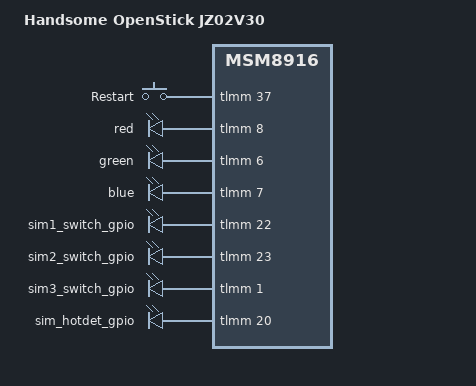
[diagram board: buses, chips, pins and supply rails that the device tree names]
// SPDX-License-Identifier: GPL-2.0-only
/*
 * Copyright (C) 2024 Vasiliy Olekhov <olekhov@gmail.com>
 *
 */

/dts-v1/;
#include "msm8916-handsome-openstick-common.dtsi"
#include "msm8916-modem-qdsp6.dtsi"

/ {
    model = "Handsome OpenStick JZ02V30";
    compatible = "handsome,openstick", "qcom,msm8916";

    gpio-keys {
        compatible = "gpio-keys";
        #address-cells = <1>;
        #size-cells = <0>;
        autorepeat;

        pinctrl-names = "default";
        pinctrl-0 = <&gpio_keys_default>;
        label = "GPIO Buttons";

        key_reset {
            label = "Restart";
            gpios = <&tlmm 37 GPIO_ACTIVE_HIGH>;
            linux,input-type = <EV_SW>;
            linux,code = <KEY_RESTART>;
            gpio-key,wakeup;
            debounce-interval = <15>;
        };
    };

    gpio-leds {
        compatible = "gpio-leds";

        pinctrl-names = "default";
        pinctrl-0 = <&msmgpio_leds>;

        red {
            label = "red";
            default-state = "off";
            gpios = <&tlmm 8 GPIO_ACTIVE_HIGH>;
            // linux,default-trigger = "heartbeat";
        };

        green {
            label = "green";
            default-state = "off";
            gpios = <&tlmm 6 GPIO_ACTIVE_HIGH>;
        };

        blue {
            label = "blue";
            gpios = <&tlmm 7 GPIO_ACTIVE_HIGH>;
            default-state = "off";
        };

        sim1_switch_gpio {
            gpios = <&tlmm 22 GPIO_ACTIVE_HIGH>;
            label = "sim1_switch_gpio";
            linux,default-trigger = "none";
            default-state = "off";
            retain-state-suspended;
        };

        sim2_switch_gpio {
            gpios = <&tlmm 23 GPIO_ACTIVE_HIGH>;
            label = "sim2_switch_gpio";
            linux,default-trigger = "none";
            default-state = "off";
            retain-state-suspended;
        };

        sim3_switch_gpio {
            gpios = <&tlmm 1 GPIO_ACTIVE_HIGH>;
            label = "sim3_switch_gpio";
            linux,default-trigger = "none";
            default-state = "on";
            retain-state-suspended;
        };

        sim_hotdet_gpio {
            gpios = <&tlmm 20 GPIO_ACTIVE_HIGH>;
            label = "sim_hotdet_gpio";
            linux,default-trigger = "none";
            default-state = "off";
            retain-state-suspended;
        };

    };
};

&tlmm {
    msmgpio_leds: msmgpio_leds {
        pins = "gpio1","gpio6","gpio7","gpio8","gpio20","gpio22","gpio23";
        function = "gpio";

        bias-disabled;
    };

    gpio_keys_default: gpio_keys_default {
        pins = "gpio37";
        function = "gpio";

        drive-strength = <8>;
        input-enable;
        bias-pull-up;
    };
};
